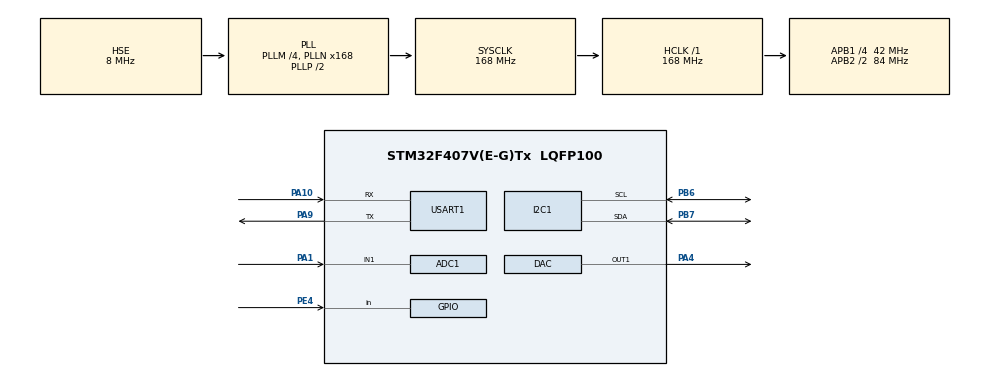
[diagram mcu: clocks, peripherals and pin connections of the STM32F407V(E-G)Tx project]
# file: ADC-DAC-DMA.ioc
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ADC1.Channel-0\#ChannelRegularConversion=ADC_CHANNEL_1
ADC1.NbrOfConversionFlag=1
ADC1.Rank-0\#ChannelRegularConversion=1
ADC1.SamplingTime-0\#ChannelRegularConversion=ADC_SAMPLETIME_3CYCLES
ADC1.master=1
Dma.Request0=USART1_RX
Dma.USART1_RX.0.Direction=DMA_PERIPH_TO_MEMORY
Dma.USART1_RX.0.FIFOMode=DMA_FIFOMODE_DISABLE
Dma.USART1_RX.0.Instance=DMA2_Stream2
Dma.USART1_RX.0.MemDataAlignment=DMA_MDATAALIGN_BYTE
Dma.USART1_RX.0.MemInc=DMA_MINC_ENABLE
Dma.USART1_RX.0.Mode=DMA_NORMAL
Dma.USART1_RX.0.PeriphDataAlignment=DMA_PDATAALIGN_BYTE
Dma.USART1_RX.0.PeriphInc=DMA_PINC_DISABLE
Dma.USART1_RX.0.Priority=DMA_PRIORITY_LOW
I2C1.I2C_Mode=I2C_Fast
Mcu.Family=STM32F4
Mcu.Name=STM32F407V(E-G)Tx
Mcu.Package=LQFP100
NVIC.DMA2_Stream2_IRQn=true\:0\:0\:false\:false\:true\:false\:true\:true
NVIC.PriorityGroup=NVIC_PRIORITYGROUP_4
PA1.Signal=ADCx_IN1
PA10.Mode=Asynchronous
PA10.Signal=USART1_RX
PA13.Mode=Serial_Wire
PA13.Signal=SYS_JTMS-SWDIO
PA14.Mode=Serial_Wire
PA14.Signal=SYS_JTCK-SWCLK
PA4.Signal=COMP_DAC1_group
PA9.Mode=Asynchronous
PA9.Signal=USART1_TX
PB6.Mode=I2C
PB6.Signal=I2C1_SCL
PB7.Mode=I2C
PB7.Signal=I2C1_SDA
PE4.GPIO_PuPd=GPIO_PULLUP
PE4.Signal=GPIO_Input
PH0-OSC_IN.Mode=HSE-External-Oscillator
PH0-OSC_IN.Signal=RCC_OSC_IN
PH1-OSC_OUT.Mode=HSE-External-Oscillator
PH1-OSC_OUT.Signal=RCC_OSC_OUT
ProjectManager.HeapSize=0x200
ProjectManager.StackSize=0x400
ProjectManager.TargetToolchain=STM32CubeIDE
RCC.48MHZClocksFreq_Value=84000000
RCC.AHBFreq_Value=168000000
RCC.APB1CLKDivider=RCC_HCLK_DIV4
RCC.APB1Freq_Value=42000000
RCC.APB1TimFreq_Value=84000000
RCC.APB2CLKDivider=RCC_HCLK_DIV2
RCC.APB2Freq_Value=84000000
RCC.APB2TimFreq_Value=168000000
RCC.CortexFreq_Value=168000000
RCC.HCLKFreq_Value=168000000
RCC.HSE_VALUE=8000000
RCC.HSI_VALUE=16000000
RCC.LSE_VALUE=32768
RCC.PLLM=4
RCC.PLLN=168
RCC.PLLSourceVirtual=RCC_PLLSOURCE_HSE
RCC.SYSCLKFreq_VALUE=168000000
RCC.SYSCLKSource=RCC_SYSCLKSOURCE_PLLCLK
RCC.VCOOutputFreq_Value=336000000
SH.ADCx_IN1.0=ADC1_IN1,IN1
SH.COMP_DAC1_group.0=DAC_OUT1,DAC_OUT1
USART1.VirtualMode=VM_ASYNC
board=custom

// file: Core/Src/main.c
/* USER CODE BEGIN Header */
/**
  ******************************************************************************
  * @file           : main.c
  * @brief          : Main program body
  ******************************************************************************
  * @attention
  *
  * Copyright (c) 2026 STMicroelectronics.
  * All rights reserved.
  *
  * This software is licensed under terms that can be found in the LICENSE file
  * in the root directory of this software component.
  * If no LICENSE file comes with this software, it is provided AS-IS.
  *
  ******************************************************************************
  */
/* USER CODE END Header */
#include "main.h"

/* USER CODE BEGIN Includes */
#include "ssd1306.h"
#include "ssd1306_fonts.h"
#include <stdio.h>
/* USER CODE END Includes */

ADC_HandleTypeDef hadc1;

DAC_HandleTypeDef hdac;

I2C_HandleTypeDef hi2c1;

UART_HandleTypeDef huart1;
DMA_HandleTypeDef hdma_usart1_rx;

/* USER CODE BEGIN PV */
uint16_t dac_lut[256];
volatile uint8_t dma_rx_complete = 0;
uint8_t aguardando_lut = 0;

float r_min_acc = 0.0f;
float r_max_acc = 0.0f;
float current_voltage = 0.0f; // Global variable to track the active step voltage
char display_buf[32];
/* USER CODE END PV */

void SystemClock_Config(void);
static void MX_GPIO_Init(void);
static void MX_DMA_Init(void);
static void MX_ADC1_Init(void);
static void MX_DAC_Init(void);
static void MX_I2C1_Init(void);
static void MX_USART1_UART_Init(void);

/* USER CODE BEGIN 0 */
#define R_FIXO 10000.0f
#define VCC 3.3f

float get_resistance_for_dac(uint16_t dac_val) {
    HAL_DAC_SetValue(&hdac, DAC_CHANNEL_1, DAC_ALIGN_12B_R, dac_val);
    HAL_Delay(100);

    HAL_ADC_Start(&hadc1);
    HAL_ADC_PollForConversion(&hadc1, 10);
    uint32_t adc_raw = HAL_ADC_GetValue(&hadc1);

    // Calculates and updates the global voltage value
    current_voltage = ((float)adc_raw * VCC) / 4095.0f;
    if(current_voltage >= VCC) current_voltage = 3.29f;
    if(current_voltage <= 0.0f) current_voltage = 0.01f;

    return R_FIXO * ((VCC / current_voltage) - 1.0f);
}

void HAL_UART_RxCpltCallback(UART_HandleTypeDef *huart) {
    if (huart->Instance == USART1) {
        dma_rx_complete = 1;
    }
}
/* USER CODE END 0 */

int main(void)
{

  /* MCU Configuration--------------------------------------------------------*/

  /* Reset of all peripherals, Initializes the Flash interface and the Systick. */
  HAL_Init();

  /* Configure the system clock */
  SystemClock_Config();

  /* Initialize all configured peripherals */
  MX_GPIO_Init();
  MX_DMA_Init();
  MX_ADC1_Init();
  MX_DAC_Init();
  MX_I2C1_Init();
  MX_USART1_UART_Init();
  /* USER CODE BEGIN 2 */
    HAL_DAC_Start(&hdac, DAC_CHANNEL_1);
    HAL_ADC_Start(&hadc1);
    ssd1306_Init();

    // Popula uma LUT linear padrão inicial
    for(int i = 0; i < 256; i++) {
        dac_lut[i] = (i * 4095) / 255;
    }

    // Calcula os limites iniciais com a LUT padrão
    r_max_acc = get_resistance_for_dac(dac_lut[0]);
    r_min_acc = get_resistance_for_dac(dac_lut[255]);

    uint8_t test_values[10] = {0, 25, 50, 75, 100, 125, 150, 175, 200, 255};
    uint8_t test_idx = 0;
  /* USER CODE END 2 */

  /* Infinite loop */
  /* USER CODE BEGIN WHILE */
    while (1)
    {
	  if (aguardando_lut) {
		  // MODO DE CALIBRAÇÃO (Ativado pelo botão K0)
		  ssd1306_Fill(Black);
		  ssd1306_SetCursor(2, 20);
		  ssd1306_WriteString("Aguardando PC...", Font_7x10, White);
		  ssd1306_SetCursor(2, 40);
		  ssd1306_WriteString("Envie o .bin", Font_7x10, White);
		  ssd1306_UpdateScreen();

		  if (dma_rx_complete == 1) {
			  dma_rx_complete = 2;

			  ssd1306_Fill(Black);
			  ssd1306_SetCursor(2, 25);
			  ssd1306_WriteString("Nova LUT OK!", Font_7x10, White);
			  ssd1306_UpdateScreen();
			  HAL_Delay(2000);

			  r_max_acc = get_resistance_for_dac(dac_lut[0]);
			  r_min_acc = get_resistance_for_dac(dac_lut[255]);

			  aguardando_lut = 0;
			  test_idx = 0;
		  }
	  }
	  else {
		  // MODO DE TESTES (Exibição com compactação e Voltagem)
		  uint8_t current_res = test_values[test_idx];
		  float actual_r = get_resistance_for_dac(dac_lut[current_res]);

		  ssd1306_Fill(Black);

		  // Linha 1 (Y=0): Limite Máximo
		  if (r_max_acc > 9999) sprintf(display_buf, "Max: %d kOhm", (int)(r_max_acc/1000));
		  else sprintf(display_buf, "Max: %d ohm", (int)r_max_acc);
		  ssd1306_SetCursor(2, 0);
		  ssd1306_WriteString(display_buf, Font_7x10, White);

		  // Linha 2 (Y=12): Limite Mínimo
		  if (r_min_acc > 9999) sprintf(display_buf, "Min: %d kOhm", (int)(r_min_acc/1000));
		  else sprintf(display_buf, "Min: %d ohm", (int)r_min_acc);
		  ssd1306_SetCursor(2, 12);
		  ssd1306_WriteString(display_buf, Font_7x10, White);

		  // Linha 3 (Y=25): Entrada Digital (Palavra res)
		  sprintf(display_buf, "Input (res): %d", current_res);
		  ssd1306_SetCursor(2, 25);
		  ssd1306_WriteString(display_buf, Font_7x10, White);

		  // Linha 4 (Y=38): TENSÃO NO ADC (Separando inteiros e decimais)
		  int volt_int = (int)current_voltage;
		  int volt_dec = (int)((current_voltage - (float)volt_int) * 100.0f);
		  if (volt_dec < 0) volt_dec = -volt_dec; // Garante valor absoluto
		  sprintf(display_buf, "ADC V: %d.%02dV", volt_int, volt_dec);
		  ssd1306_SetCursor(2, 38);
		  ssd1306_WriteString(display_buf, Font_7x10, White);

		  // Linha 5 (Y=51): Resistência do LDR calculada
		  if (actual_r > 9999) sprintf(display_buf, "LDR: %d kOhm", (int)(actual_r/1000));
		  else sprintf(display_buf, "LDR: %d ohm", (int)actual_r);
		  ssd1306_SetCursor(2, 51);
		  ssd1306_WriteString(display_buf, Font_7x10, White);

		  ssd1306_UpdateScreen();

		  // REDUZIDO PARA 2.5 SEGUNDOS (25 loops de 100ms)
		  // Continua checando o botão K0 rapidamente para não travar a resposta
		  for(int wait = 0; wait < 25; wait++) {
			  if(HAL_GPIO_ReadPin(GPIOE, GPIO_PIN_4) == GPIO_PIN_RESET) {
				  aguardando_lut = 1;
				  dma_rx_complete = 0;
				  HAL_UART_Receive_DMA(&huart1, (uint8_t*)dac_lut, 512);
				  break;
			  }
			  HAL_Delay(100);
		  }

		  if (!aguardando_lut) {
			  test_idx++;
			  if(test_idx >= 10) test_idx = 0;
		  }
	  }
    /* USER CODE END WHILE */

  }
}

void SystemClock_Config(void)
{
  RCC_OscInitTypeDef RCC_OscInitStruct = {0};
  RCC_ClkInitTypeDef RCC_ClkInitStruct = {0};

  /** Configure the main internal regulator output voltage
  */
  __HAL_RCC_PWR_CLK_ENABLE();
  __HAL_PWR_VOLTAGESCALING_CONFIG(PWR_REGULATOR_VOLTAGE_SCALE1);

  /** Initializes the RCC Oscillators according to the specified parameters
  * in the RCC_OscInitTypeDef structure.
  */
  RCC_OscInitStruct.OscillatorType = RCC_OSCILLATORTYPE_HSE;
  RCC_OscInitStruct.HSEState = RCC_HSE_ON;
  RCC_OscInitStruct.PLL.PLLState = RCC_PLL_ON;
  RCC_OscInitStruct.PLL.PLLSource = RCC_PLLSOURCE_HSE;
  RCC_OscInitStruct.PLL.PLLM = 4;
  RCC_OscInitStruct.PLL.PLLN = 168;
  RCC_OscInitStruct.PLL.PLLP = RCC_PLLP_DIV2;
  RCC_OscInitStruct.PLL.PLLQ = 4;
  if (HAL_RCC_OscConfig(&RCC_OscInitStruct) != HAL_OK)
  {
    Error_Handler();
  }

  /** Initializes the CPU, AHB and APB buses clocks
  */
  RCC_ClkInitStruct.ClockType = RCC_CLOCKTYPE_HCLK|RCC_CLOCKTYPE_SYSCLK
                              |RCC_CLOCKTYPE_PCLK1|RCC_CLOCKTYPE_PCLK2;
  RCC_ClkInitStruct.SYSCLKSource = RCC_SYSCLKSOURCE_PLLCLK;
  RCC_ClkInitStruct.AHBCLKDivider = RCC_SYSCLK_DIV1;
  RCC_ClkInitStruct.APB1CLKDivider = RCC_HCLK_DIV4;
  RCC_ClkInitStruct.APB2CLKDivider = RCC_HCLK_DIV2;

  if (HAL_RCC_ClockConfig(&RCC_ClkInitStruct, FLASH_LATENCY_5) != HAL_OK)
  {
    Error_Handler();
  }
}

static void MX_ADC1_Init(void)
{

  ADC_ChannelConfTypeDef sConfig = {0};

  /** Configure the global features of the ADC (Clock, Resolution, Data Alignment and number of conversion)
  */
  hadc1.Instance = ADC1;
  hadc1.Init.ClockPrescaler = ADC_CLOCK_SYNC_PCLK_DIV4;
  hadc1.Init.Resolution = ADC_RESOLUTION_12B;
  hadc1.Init.ScanConvMode = DISABLE;
  hadc1.Init.ContinuousConvMode = DISABLE;
  hadc1.Init.DiscontinuousConvMode = DISABLE;
  hadc1.Init.ExternalTrigConvEdge = ADC_EXTERNALTRIGCONVEDGE_NONE;
  hadc1.Init.ExternalTrigConv = ADC_SOFTWARE_START;
  hadc1.Init.DataAlign = ADC_DATAALIGN_RIGHT;
  hadc1.Init.NbrOfConversion = 1;
  hadc1.Init.DMAContinuousRequests = DISABLE;
  hadc1.Init.EOCSelection = ADC_EOC_SINGLE_CONV;
  if (HAL_ADC_Init(&hadc1) != HAL_OK)
  {
    Error_Handler();
  }

  /** Configure for the selected ADC regular channel its corresponding rank in the sequencer and its sample time.
  */
  sConfig.Channel = ADC_CHANNEL_1;
  sConfig.Rank = 1;
  sConfig.SamplingTime = ADC_SAMPLETIME_3CYCLES;
  if (HAL_ADC_ConfigChannel(&hadc1, &sConfig) != HAL_OK)
  {
    Error_Handler();
  }

}

static void MX_DAC_Init(void)
{

  DAC_ChannelConfTypeDef sConfig = {0};

  /** DAC Initialization
  */
  hdac.Instance = DAC;
  if (HAL_DAC_Init(&hdac) != HAL_OK)
  {
    Error_Handler();
  }

  /** DAC channel OUT1 config
  */
  sConfig.DAC_Trigger = DAC_TRIGGER_NONE;
  sConfig.DAC_OutputBuffer = DAC_OUTPUTBUFFER_ENABLE;
  if (HAL_DAC_ConfigChannel(&hdac, &sConfig, DAC_CHANNEL_1) != HAL_OK)
  {
    Error_Handler();
  }

}

static void MX_I2C1_Init(void)
{

  hi2c1.Instance = I2C1;
  hi2c1.Init.ClockSpeed = 400000;
  hi2c1.Init.DutyCycle = I2C_DUTYCYCLE_2;
  hi2c1.Init.OwnAddress1 = 0;
  hi2c1.Init.AddressingMode = I2C_ADDRESSINGMODE_7BIT;
  hi2c1.Init.DualAddressMode = I2C_DUALADDRESS_DISABLE;
  hi2c1.Init.OwnAddress2 = 0;
  hi2c1.Init.GeneralCallMode = I2C_GENERALCALL_DISABLE;
  hi2c1.Init.NoStretchMode = I2C_NOSTRETCH_DISABLE;
  if (HAL_I2C_Init(&hi2c1) != HAL_OK)
  {
    Error_Handler();
  }

}

static void MX_USART1_UART_Init(void)
{

  huart1.Instance = USART1;
  huart1.Init.BaudRate = 115200;
  huart1.Init.WordLength = UART_WORDLENGTH_8B;
  huart1.Init.StopBits = UART_STOPBITS_1;
  huart1.Init.Parity = UART_PARITY_NONE;
  huart1.Init.Mode = UART_MODE_TX_RX;
  huart1.Init.HwFlowCtl = UART_HWCONTROL_NONE;
  huart1.Init.OverSampling = UART_OVERSAMPLING_16;
  if (HAL_UART_Init(&huart1) != HAL_OK)
  {
    Error_Handler();
  }

}

static void MX_DMA_Init(void)
{

  /* DMA controller clock enable */
  __HAL_RCC_DMA2_CLK_ENABLE();

  /* DMA interrupt init */
  /* DMA2_Stream2_IRQn interrupt configuration */
  HAL_NVIC_SetPriority(DMA2_Stream2_IRQn, 0, 0);
  HAL_NVIC_EnableIRQ(DMA2_Stream2_IRQn);

}

static void MX_GPIO_Init(void)
{
  GPIO_InitTypeDef GPIO_InitStruct = {0};

  /* GPIO Ports Clock Enable */
  __HAL_RCC_GPIOE_CLK_ENABLE();
  __HAL_RCC_GPIOH_CLK_ENABLE();
  __HAL_RCC_GPIOA_CLK_ENABLE();
  __HAL_RCC_GPIOB_CLK_ENABLE();

  /*Configure GPIO pin : PE4 */
  GPIO_InitStruct.Pin = GPIO_PIN_4;
  GPIO_InitStruct.Mode = GPIO_MODE_INPUT;
  GPIO_InitStruct.Pull = GPIO_PULLUP;
  HAL_GPIO_Init(GPIOE, &GPIO_InitStruct);

}

void Error_Handler(void)
{
  __disable_irq();
  while (1)
  {
  }
}
